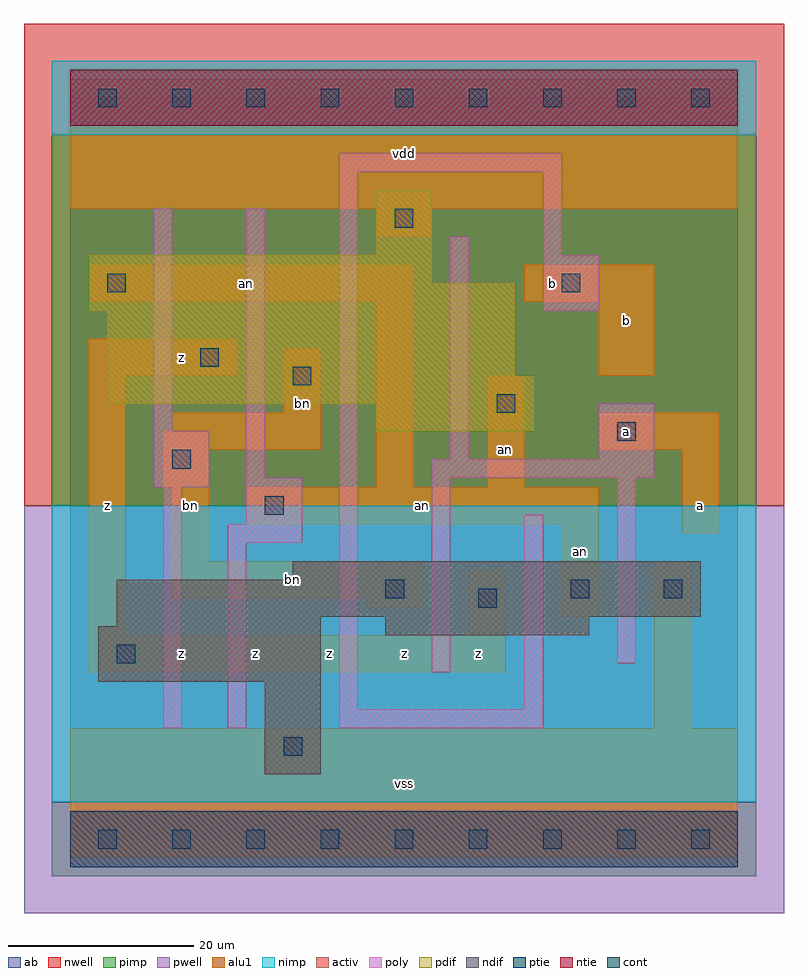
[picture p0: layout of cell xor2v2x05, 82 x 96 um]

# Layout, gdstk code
import gdstk
lib = gdstk.Library(unit=1e-6, precision=1e-09)
def R(c, l, rs):  # rectangles x0, y0, x1, y1
    for r in rs: c.add(gdstk.rectangle(r[:2], r[2:], *l))
def A(c, l, x, y, w, h, nx, ny, dx, dy):  # array of equal rectangles
    R(c, l, [(x+i*dx, y+j*dy, x+i*dx+w, y+j*dy+h) for i in range(nx) for j in range(ny)])
ndif = (3, 0)
pdif = (4, 0)
ntie = (5, 0)
ptie = (6, 0)
cont = (25, 0)
pwell = (41, 0)
nwell = (42, 0)
activ = (43, 0)
pimp = (44, 0)
nimp = (45, 0)
poly = (46, 0)
alu1 = (49, 0)
ab = (63, 0)

xor2v2x05 = lib.new_cell('xor2v2x05')
R(xor2v2x05, ndif, [(21,7,27,17), (3,17,27,23), (34,22,56,24), (5,23,27,24), (5,24,68,28), (24,28,68,30)])
R(xor2v2x05, pdif, [(33,44,50,47), (4,47,50,50), (4,50,48,57), (2,57,48,60), (2,60,39,63), (33,63,39,70)])
R(xor2v2x05, ntie, [(0,77,72,83)])
R(xor2v2x05, ptie, [(0,-3,72,3)])
A(xor2v2x05, cont, 3, -1, 2, 2, 9, 2, 8, 80)
R(xor2v2x05, cont, [(23,9,25,11), (5,19,7,21), (44,25,46,27), (34,26,36,28), (54,26,56,28), (64,26,66,28), (21,35,23,37), (11,40,13,42), (59,43,61,45), (46,46,48,48), (24,49,26,51), (14,51,16,53), (4,59,6,61), (53,59,55,61), (35,66,37,68)])
R(xor2v2x05, pwell, [(-5,-8,77,36)])
R(xor2v2x05, nwell, [(-5,36,77,88)])
R(xor2v2x05, activ, [(0,-3,72,3), (21,7,27,17), (3,17,27,23), (34,22,56,24), (5,23,27,24), (5,24,68,28), (24,28,68,30), (33,44,50,47), (4,47,50,50), (4,50,48,57), (2,57,48,60), (2,60,39,63), (33,63,39,70), (0,77,72,83)])
R(xor2v2x05, pimp, [(-2,-4,74,4), (-2,36,74,76)])
R(xor2v2x05, nimp, [(-2,4,74,36), (-2,76,74,84)])
R(xor2v2x05, poly, [(10,12,12,38), (17,12,19,32), (29,12,51,14), (29,14,31,72), (49,14,51,35), (39,18,41,39), (59,19,61,39), (17,32,25,34), (19,34,25,39), (9,38,15,44), (19,39,21,68), (39,39,63,41), (41,41,43,65), (57,41,63,47), (9,44,11,68), (51,57,57,63), (51,63,53,72), (29,72,53,74)])
R(xor2v2x05, alu1, [(0,-2,72,12), (63,12,67,30), (2,18,47,22), (2,22,6,50), (43,22,47,29), (53,24,57,34), (32,25,38,26), (11,26,38,30), (11,30,15,38), (66,33,70,42), (19,34,57,38), (10,38,15,42), (33,38,37,58), (45,38,49,50), (10,42,27,44), (57,42,70,46), (11,44,27,46), (23,46,27,53), (2,50,18,54), (57,50,63,58), (2,58,37,62), (49,58,63,62), (33,65,39,68), (0,68,72,82)])
R(xor2v2x05, ab, [(0,0,72,80)])
xor2v2x05.add(gdstk.Label('bn', (13,36), layer=49, texttype=0))
xor2v2x05.add(gdstk.Label('bn', (25,47), layer=49, texttype=0))
xor2v2x05.add(gdstk.Label('bn', (24,28), layer=49, texttype=0))
xor2v2x05.add(gdstk.Label('an', (47,42), layer=49, texttype=0))
xor2v2x05.add(gdstk.Label('an', (19,60), layer=49, texttype=0))
xor2v2x05.add(gdstk.Label('an', (55,31), layer=49, texttype=0))
xor2v2x05.add(gdstk.Label('an', (38,36), layer=49, texttype=0))
xor2v2x05.add(gdstk.Label('z', (12,20), layer=49, texttype=0))
xor2v2x05.add(gdstk.Label('z', (4,36), layer=49, texttype=0))
xor2v2x05.add(gdstk.Label('z', (12,52), layer=49, texttype=0))
xor2v2x05.add(gdstk.Label('z', (28,20), layer=49, texttype=0))
xor2v2x05.add(gdstk.Label('z', (20,20), layer=49, texttype=0))
xor2v2x05.add(gdstk.Label('vss', (36,6), layer=49, texttype=0))
xor2v2x05.add(gdstk.Label('z', (44,20), layer=49, texttype=0))
xor2v2x05.add(gdstk.Label('z', (36,20), layer=49, texttype=0))
xor2v2x05.add(gdstk.Label('b', (52,60), layer=49, texttype=0))
xor2v2x05.add(gdstk.Label('vdd', (36,74), layer=49, texttype=0))
xor2v2x05.add(gdstk.Label('a', (68,36), layer=49, texttype=0))
xor2v2x05.add(gdstk.Label('a', (60,44), layer=49, texttype=0))
xor2v2x05.add(gdstk.Label('b', (60,56), layer=49, texttype=0))

lib.write_gds('xor2v2x05.gds')
